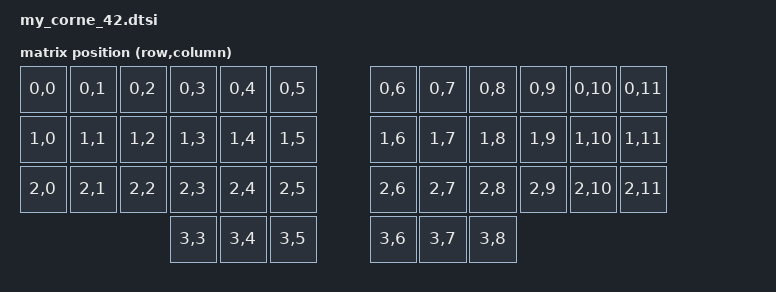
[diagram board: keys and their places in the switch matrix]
#include <dt-bindings/zmk/matrix_transform.h>

/ {
    chosen {
        zmk,kscan = &kscan0;
        zmk,matrix-transform = &default_transform;
    };

    /*
     * 标准 Corne 42键布局: 3行x6列 + 3拇指键 x 两侧
     * 总计: 12列 x 4行 (第4行仅拇指键)
     *
     *  Q  W  E  R  T  |  Y  U  I  O  P
     *  A  S  D  F  G  |  H  J  K  L  ;
     *  Z  X  C  V  B  |  N  M  ,  .  /
     *        ESC SPC TAB | ENT BSPC DEL
     */
    default_transform: keymap_transform_0 {
        compatible = "zmk,matrix-transform";
        columns = <12>;
        rows = <4>;
        map = <
            RC(0,0) RC(0,1) RC(0,2) RC(0,3) RC(0,4) RC(0,5)  RC(0,6) RC(0,7) RC(0,8) RC(0,9) RC(0,10) RC(0,11)
            RC(1,0) RC(1,1) RC(1,2) RC(1,3) RC(1,4) RC(1,5)  RC(1,6) RC(1,7) RC(1,8) RC(1,9) RC(1,10) RC(1,11)
            RC(2,0) RC(2,1) RC(2,2) RC(2,3) RC(2,4) RC(2,5)  RC(2,6) RC(2,7) RC(2,8) RC(2,9) RC(2,10) RC(2,11)
                                    RC(3,3) RC(3,4) RC(3,5)  RC(3,6) RC(3,7) RC(3,8)
        >;
    };

    kscan0: kscan {
        compatible = "zmk,kscan-gpio-matrix";
        diode-direction = "col2row";
    };
};
